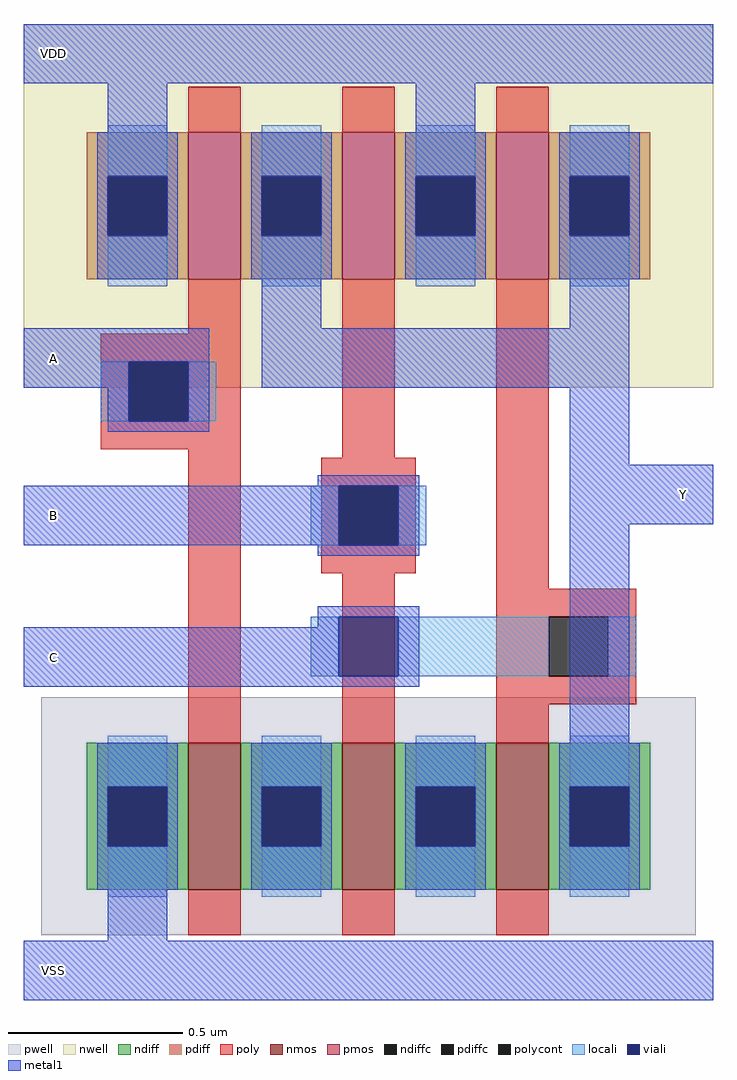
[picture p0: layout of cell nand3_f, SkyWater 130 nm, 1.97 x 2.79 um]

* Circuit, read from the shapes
.subckt nand3_f VDD VSS Y C B A
XM1 n1 A VSS VSUBS sky130_fd_pr__nfet_01v8 w=0.42 l=0.15
XM2 n2 B n1 VSUBS sky130_fd_pr__nfet_01v8 w=0.42 l=0.15
XM3 Y C n2 VSUBS sky130_fd_pr__nfet_01v8 w=0.42 l=0.15
XM4 Y A VDD n3 sky130_fd_pr__pfet_01v8 w=0.42 l=0.15
XM5 VDD B Y n3 sky130_fd_pr__pfet_01v8 w=0.42 l=0.15
XM6 Y C VDD n3 sky130_fd_pr__pfet_01v8 w=0.42 l=0.15
.ends

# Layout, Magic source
magic
tech sky130A
magscale 1 2
<< nwell >>
rect 0 488 394 696
<< pwell >>
rect 10 175 384 311
<< nmos >>
rect 94 201 124 285
rect 182 201 212 285
rect 270 201 300 285
<< pmos >>
rect 94 550 124 634
rect 182 550 212 634
rect 270 550 300 634
<< ndiff >>
rect 36 260 94 285
rect 36 226 48 260
rect 82 226 94 260
rect 36 201 94 226
rect 124 260 182 285
rect 124 226 136 260
rect 170 226 182 260
rect 124 201 182 226
rect 212 260 270 285
rect 212 226 224 260
rect 258 226 270 260
rect 212 201 270 226
rect 300 260 358 285
rect 300 226 312 260
rect 346 226 358 260
rect 300 201 358 226
<< pdiff >>
rect 36 609 94 634
rect 36 575 48 609
rect 82 575 94 609
rect 36 550 94 575
rect 124 609 182 634
rect 124 575 136 609
rect 170 575 182 609
rect 124 550 182 575
rect 212 609 270 634
rect 212 575 224 609
rect 258 575 270 609
rect 212 550 270 575
rect 300 609 358 634
rect 300 575 312 609
rect 346 575 358 609
rect 300 550 358 575
<< ndiffc >>
rect 48 226 82 260
rect 136 226 170 260
rect 224 226 258 260
rect 312 226 346 260
<< pdiffc >>
rect 48 575 82 609
rect 136 575 170 609
rect 224 575 258 609
rect 312 575 346 609
<< poly >>
rect 94 634 124 660
rect 182 634 212 660
rect 270 634 300 660
rect 94 519 124 550
rect 44 503 124 519
rect 44 469 60 503
rect 94 469 124 503
rect 44 453 124 469
rect 94 285 124 453
rect 182 448 212 550
rect 170 432 224 448
rect 170 398 180 432
rect 214 398 224 432
rect 170 382 224 398
rect 182 285 212 382
rect 270 373 300 550
rect 270 357 350 373
rect 270 323 300 357
rect 334 323 350 357
rect 270 307 350 323
rect 270 285 300 307
rect 94 175 124 201
rect 182 175 212 201
rect 270 175 300 201
<< polycont >>
rect 60 469 94 503
rect 180 398 214 432
rect 300 323 334 357
<< locali >>
rect 48 609 82 638
rect 48 546 82 575
rect 136 609 170 638
rect 136 546 170 575
rect 224 609 258 638
rect 224 546 258 575
rect 312 609 346 638
rect 312 546 346 575
rect 44 469 60 503
rect 94 469 110 503
rect 164 398 180 432
rect 214 398 230 432
rect 164 323 180 357
rect 214 323 300 357
rect 334 323 350 357
rect 48 260 82 289
rect 48 197 82 226
rect 136 260 170 289
rect 136 197 170 226
rect 224 260 258 289
rect 224 197 258 226
rect 312 260 346 289
rect 312 197 346 226
<< viali >>
rect 48 575 82 609
rect 136 575 170 609
rect 224 575 258 609
rect 312 575 346 609
rect 60 469 94 503
rect 180 398 214 432
rect 180 323 214 357
rect 48 226 82 260
rect 136 226 170 260
rect 224 226 258 260
rect 312 226 346 260
<< metal1 >>
rect 0 662 394 696
rect 48 634 82 662
rect 224 634 258 662
rect 42 609 88 634
rect 42 575 48 609
rect 82 575 88 609
rect 42 550 88 575
rect 130 609 176 634
rect 130 575 136 609
rect 170 575 176 609
rect 130 550 176 575
rect 218 609 264 634
rect 218 575 224 609
rect 258 575 264 609
rect 218 550 264 575
rect 306 609 352 634
rect 306 575 312 609
rect 346 575 352 609
rect 306 550 352 575
rect 136 522 170 550
rect 312 522 346 550
rect 0 503 106 522
rect 0 488 60 503
rect 48 469 60 488
rect 94 469 106 503
rect 136 488 346 522
rect 48 463 106 469
rect 312 444 346 488
rect 168 432 226 438
rect 0 398 180 432
rect 214 398 226 432
rect 168 392 226 398
rect 312 410 394 444
rect 168 357 226 363
rect 168 351 180 357
rect 0 323 180 351
rect 214 323 226 357
rect 0 317 226 323
rect 312 285 346 410
rect 42 260 88 285
rect 42 226 48 260
rect 82 226 88 260
rect 42 201 88 226
rect 130 260 176 285
rect 130 226 136 260
rect 170 226 176 260
rect 130 201 176 226
rect 218 260 264 285
rect 218 226 224 260
rect 258 226 264 260
rect 218 201 264 226
rect 306 260 352 285
rect 306 226 312 260
rect 346 226 352 260
rect 306 201 352 226
rect 48 172 82 201
rect 0 138 394 172
<< labels >>
flabel metal1 s 0 662 34 696 0 FreeSans 44 0 0 0 VDD
port 1 nsew
flabel metal1 s 0 138 34 172 0 FreeSans 44 0 0 0 VSS
port 2 nsew
flabel metal1 s 360 410 394 444 0 FreeSans 44 0 0 0 Y
port 3 nsew
flabel metal1 s 0 317 34 351 0 FreeSans 44 0 0 0 C
port 4 nsew
flabel metal1 s 0 398 34 432 0 FreeSans 44 0 0 0 B
port 5 nsew
flabel metal1 s 0 488 34 522 0 FreeSans 44 0 0 0 A
port 6 nsew
<< end >>
